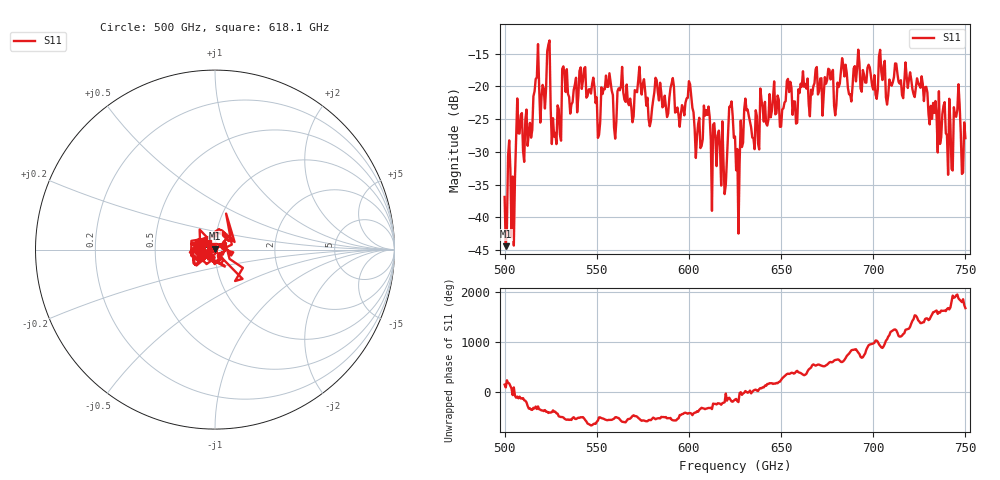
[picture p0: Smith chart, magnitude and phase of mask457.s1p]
!Created with skrf (http://scikit-rf.org).
# GHz S MA R 50.0
!freq magS11 angS11
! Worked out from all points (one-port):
!   401 points, 500 GHz to 750 GHz, reference 50 ohm
!   lowest |S11| = -44.4 dB at 500.6 GHz (marker M1), VSWR 1.01, Z = 50 + j0.602 ohm
!   |S11| at or under -10 dB: start of sweep to end of sweep
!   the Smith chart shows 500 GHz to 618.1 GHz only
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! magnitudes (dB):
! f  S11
! 500 GHz  -36.9
! 500.6 GHz  -44.4
! 505 GHz  -44.3
! 508.1 GHz  -27.2
! 513.8 GHz  -25.6
! 516.9 GHz  -18.9
! 520.6 GHz  -19.8
! 523.8 GHz  -13.6
! 526.9 GHz  -27.7
! 531.2 GHz  -17.3
! 542.5 GHz  -19.1
! 550.6 GHz  -27.9
! 562.5 GHz  -20.6
! 593.8 GHz  -23.2
! 609.4 GHz  -23.6
! 618.8 GHz  -31.5
! 622.5 GHz  -23.1
! 625 GHz  -27.6
! 626.2 GHz  -29.6
! 631.2 GHz  -23.7
! 636.9 GHz  -24.6
! 656.2 GHz  -24.3
! 676.9 GHz  -19.0
! 680 GHz  -22.8
! 683.8 GHz  -16.8
! 687.5 GHz  -21.2
! 718.8 GHz  -20.3
! 750 GHz  -27.9
